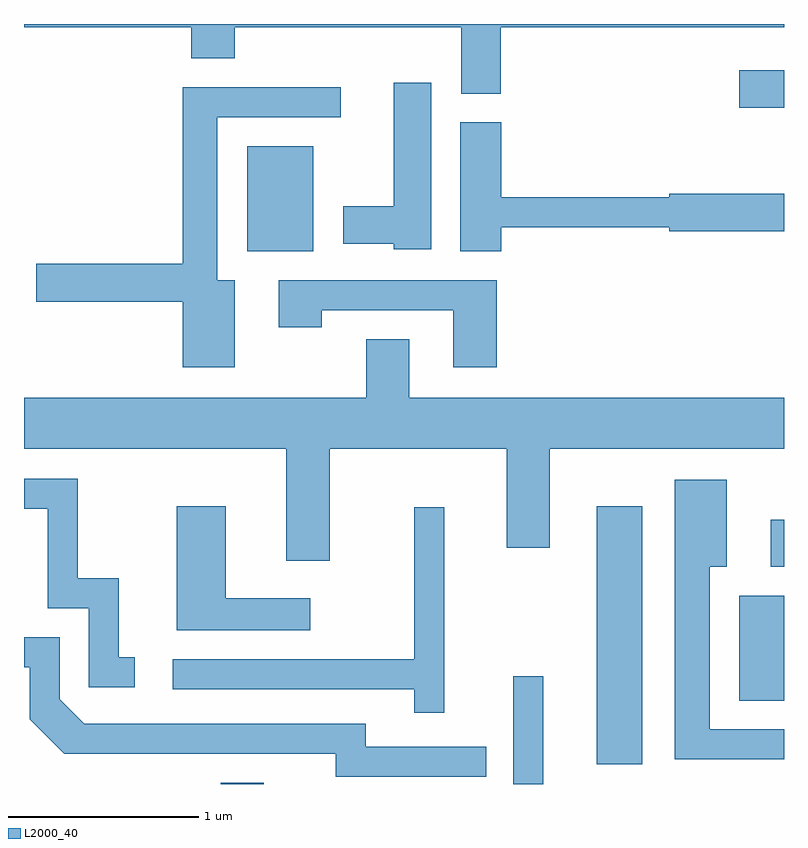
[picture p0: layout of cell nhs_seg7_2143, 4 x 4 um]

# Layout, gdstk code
import gdstk
lib = gdstk.Library(unit=1e-6, precision=1e-09)
def R(c, l, rs):  # rectangles x0, y0, x1, y1
    for r in rs: c.add(gdstk.rectangle(r[:2], r[2:], *l))
def P(c, l, *ps):  # polygons
    for p in ps: c.add(gdstk.Polygon(p, *l))
L2000_40 = (2000, 40)

nhs_seg7_2143 = lib.new_cell('nhs_seg7_2143')
R(nhs_seg7_2143, L2000_40, [(250.646,1790.252,250.874,1790.259), (252.186,1790.252,252.344,1790.818), (252.626,1790.356,252.864,1791.714), (253.376,1790.691,253.611,1791.244), (253.541,1791.396,253.611,1791.644), (250.786,1793.056,251.134,1793.609), (253.376,1793.811,253.611,1794.009)])
P(nhs_seg7_2143, L2000_40, [(252.119,1794.236),(253.611,1794.236),(253.611,1794.252),(249.611,1794.252),(249.611,1794.236),(250.491,1794.236),(250.491,1794.071),(250.719,1794.071),(250.719,1794.236),(251.911,1794.236),(251.911,1793.886),(252.119,1793.886)],
  [(251.754,1793.944),(251.556,1793.944),(251.556,1793.294),(251.291,1793.294),(251.291,1793.096),(251.556,1793.096),(251.556,1793.066),(251.754,1793.066)],
  [(250.719,1792.904),(250.629,1792.904),(250.629,1793.761),(251.278,1793.761),(251.278,1793.919),(250.446,1793.919),(250.446,1792.989),(249.676,1792.989),(249.676,1792.791),(250.446,1792.791),(250.446,1792.446),(250.719,1792.446)],
  [(252.124,1793.181),(253.006,1793.181),(253.006,1793.161),(253.611,1793.161),(253.611,1793.359),(253.006,1793.359),(253.006,1793.339),(252.124,1793.339),(252.124,1793.734),(251.906,1793.734),(251.906,1793.056),(252.124,1793.056)],
  [(252.099,1792.904),(250.951,1792.904),(250.951,1792.656),(251.179,1792.656),(251.179,1792.746),(251.871,1792.746),(251.871,1792.446),(252.099,1792.446)],
  [(251.219,1792.016),(252.151,1792.016),(252.151,1791.496),(252.379,1791.496),(252.379,1792.016),(253.611,1792.016),(253.611,1792.284),(251.639,1792.284),(251.639,1792.594),(251.411,1792.594),(251.411,1792.284),(249.611,1792.284),(249.611,1792.016),(250.991,1792.016),(250.991,1791.426),(251.219,1791.426)],
  [(250.193,1790.919),(250.109,1790.919),(250.109,1791.334),(249.894,1791.334),(249.894,1791.859),(249.611,1791.859),(249.611,1791.701),(249.736,1791.701),(249.736,1791.176),(249.951,1791.176),(249.951,1790.761),(250.193,1790.761)],
  [(253.611,1790.539),(253.219,1790.539),(253.219,1791.396),(253.309,1791.396),(253.309,1791.854),(253.036,1791.854),(253.036,1790.381),(253.611,1790.381)],
  [(251.118,1791.229),(250.674,1791.229),(250.674,1791.714),(250.416,1791.714),(250.416,1791.061),(251.118,1791.061)],
  [(251.824,1791.708),(251.666,1791.708),(251.666,1790.909),(250.393,1790.909),(250.393,1790.751),(251.666,1790.751),(251.666,1790.628),(251.824,1790.628)],
  [(252.043,1790.449),(251.409,1790.449),(251.409,1790.569),(249.927,1790.569),(249.799,1790.697),(249.799,1791.024),(249.611,1791.024),(249.611,1790.866),(249.641,1790.866),(249.641,1790.594),(249.824,1790.411),(251.251,1790.411),(251.251,1790.291),(252.043,1790.291)])

lib.write_gds('nhs_seg7_2143.gds')
